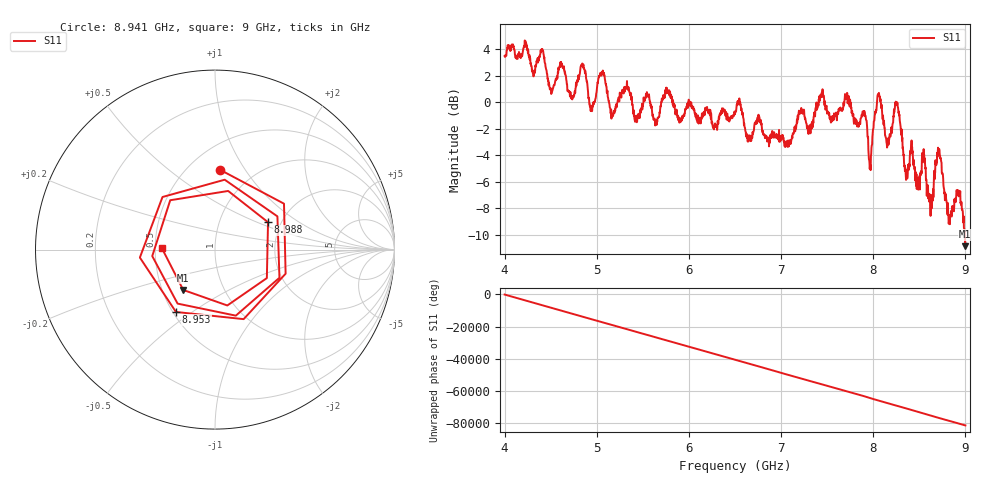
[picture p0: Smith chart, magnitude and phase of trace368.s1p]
! Created with skrf 1.8.0 (http://scikit-rf.org).
# Hz S RI R 50.0
!freq ReS11 ImS11
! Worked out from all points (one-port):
!   1601 points, 4 GHz to 9 GHz, reference 50 ohm
!   lowest |S11| = -10.9 dB at 8.997 GHz (marker M1), VSWR 1.80, Z = 32 - j15.7 ohm
!   |S11| at or under -10 dB: 8.994222 GHz to end of sweep
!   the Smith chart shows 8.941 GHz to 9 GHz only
!   S11 on the Smith chart (normalised r, x): 8.941 GHz: 0.70, +0.78; 8.953 GHz: 0.52, -0.43; 8.988 GHz: 1.71, +0.59; 9 GHz: 0.54, +0.01
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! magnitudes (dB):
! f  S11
! 4 GHz  3.5
! 4.509 GHz  0.7
! 4.625 GHz  2.8
! 4.731 GHz  0.4
! 4.85 GHz  2.6
! 4.944 GHz  -0.6
! 5.053 GHz  2.2
! 5.166 GHz  -1.1
! 5.25 GHz  0.7
! 5.875 GHz  -1.0
! 6.5 GHz  -0.9
! 7.125 GHz  -2.4
! 7.75 GHz  0.2
! 7.906 GHz  -0.7
! 7.962 GHz  -5.0
! 8.056 GHz  0.7
! 8.153 GHz  -3.3
! 8.259 GHz  -0.2
! 8.375 GHz  -5.3
! 8.547 GHz  -3.5
! 8.622 GHz  -8.6
! 8.716 GHz  -3.5
! 8.828 GHz  -8.5
! 8.941 GHz  -7.0
! 8.953 GHz  -7.7
! 8.988 GHz  -9.6
! 8.997 GHz  -10.9
! 9 GHz  -10.6
